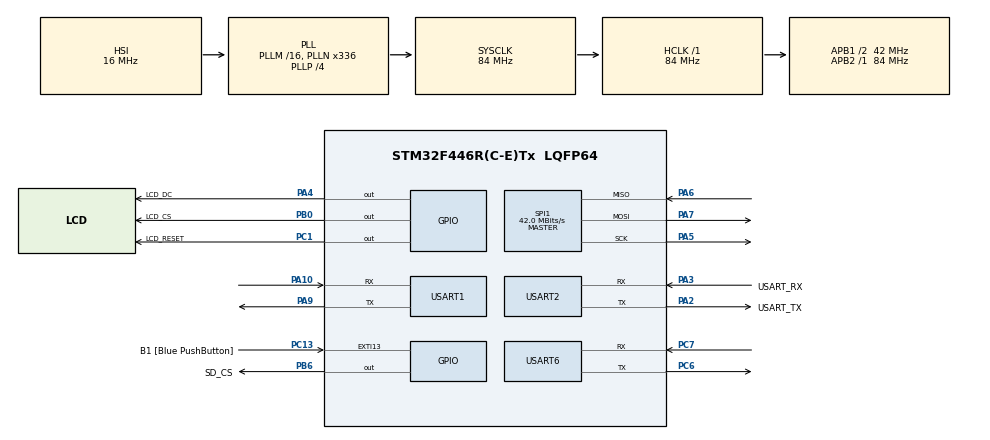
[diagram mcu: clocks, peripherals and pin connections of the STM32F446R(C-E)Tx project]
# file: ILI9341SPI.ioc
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Mcu.Family=STM32F4
Mcu.Name=STM32F446R(C-E)Tx
Mcu.Package=LQFP64
NVIC.PriorityGroup=NVIC_PRIORITYGROUP_0
NVIC.USART1_IRQn=true\:0\:0\:false\:false\:true\:true\:true\:true
NVIC.USART2_IRQn=true\:0\:0\:false\:false\:true\:true\:true\:true
NVIC.USART6_IRQn=true\:0\:0\:false\:false\:true\:true\:true\:true
PA10.Mode=Asynchronous
PA10.Signal=USART1_RX
PA13.GPIO_Label=TMS
PA13.Mode=Serial_Wire
PA13.Signal=SYS_JTMS-SWDIO
PA14.GPIO_Label=TCK
PA14.Mode=Serial_Wire
PA14.Signal=SYS_JTCK-SWCLK
PA2.GPIO_Label=USART_TX
PA2.Mode=Asynchronous
PA2.Signal=USART2_TX
PA3.GPIO_Label=USART_RX
PA3.Mode=Asynchronous
PA3.Signal=USART2_RX
PA4.GPIO_Label=LCD_DC
PA4.GPIO_Speed=GPIO_SPEED_FREQ_MEDIUM
PA4.Signal=GPIO_Output
PA5.Mode=Full_Duplex_Master
PA5.Signal=SPI1_SCK
PA6.Mode=Full_Duplex_Master
PA6.Signal=SPI1_MISO
PA7.Mode=Full_Duplex_Master
PA7.Signal=SPI1_MOSI
PA9.Mode=Asynchronous
PA9.Signal=USART1_TX
PB0.GPIO_Label=LCD_CS
PB0.GPIO_Speed=GPIO_SPEED_FREQ_MEDIUM
PB0.Signal=GPIO_Output
PB3.GPIO_Label=SWO
PB3.Signal=SYS_JTDO-SWO
PB6.GPIO_Label=SD_CS
PB6.GPIO_Speed=GPIO_SPEED_FREQ_MEDIUM
PB6.Signal=GPIO_Output
PC1.GPIO_Label=LCD_RESET
PC1.GPIO_Speed=GPIO_SPEED_FREQ_MEDIUM
PC1.Signal=GPIO_Output
PC13.GPIO_Label=B1 [Blue PushButton]
PC13.GPIO_ModeDefaultEXTI=GPIO_MODE_IT_FALLING
PC13.Signal=GPXTI13
PC14-OSC32_IN.Mode=LSE-External-Oscillator
PC14-OSC32_IN.Signal=RCC_OSC32_IN
PC15-OSC32_OUT.Mode=LSE-External-Oscillator
PC15-OSC32_OUT.Signal=RCC_OSC32_OUT
PC6.Mode=Asynchronous
PC6.Signal=USART6_TX
PC7.Mode=Asynchronous
PC7.Signal=USART6_RX
PH0-OSC_IN.Mode=HSE-External-Oscillator
PH0-OSC_IN.Signal=RCC_OSC_IN
PH1-OSC_OUT.Mode=HSE-External-Oscillator
PH1-OSC_OUT.Signal=RCC_OSC_OUT
ProjectManager.HeapSize=0x200
ProjectManager.StackSize=0x400
ProjectManager.TargetToolchain=STM32CubeIDE
RCC.48MHZClocksFreq_Value=84000000
RCC.AHBFreq_Value=84000000
RCC.APB1CLKDivider=RCC_HCLK_DIV2
RCC.APB1Freq_Value=42000000
RCC.APB1TimFreq_Value=84000000
RCC.APB2Freq_Value=84000000
RCC.APB2TimFreq_Value=84000000
RCC.CortexFreq_Value=84000000
RCC.FLatency-AdvancedSettings=FLASH_LATENCY_2
RCC.HCLKFreq_Value=84000000
RCC.HSE_VALUE=8000000
RCC.HSI_VALUE=16000000
RCC.PLLN=336
RCC.PLLP=RCC_PLLP_DIV4
RCC.SYSCLKFreq_VALUE=84000000
RCC.SYSCLKSource=RCC_SYSCLKSOURCE_PLLCLK
RCC.USBFreq_Value=168000000
RCC.VCOOutputFreq_Value=336000000
SPI1.BaudRatePrescaler=SPI_BAUDRATEPRESCALER_2
SPI1.CalculateBaudRate=42.0 MBits/s
SPI1.Direction=SPI_DIRECTION_2LINES
SPI1.Mode=SPI_MODE_MASTER
SPI1.VirtualType=VM_MASTER
USART1.VirtualMode=VM_ASYNC
USART2.VirtualMode=VM_ASYNC
USART6.VirtualMode=VM_ASYNC
board=NUCLEO-F446RE

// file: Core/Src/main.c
/* USER CODE BEGIN Header */
/**
 ******************************************************************************
 * @file           : main.c
 * @brief          : Main program body
 ******************************************************************************
 * @attention
 *
 * Copyright (c) 2024 STMicroelectronics.
 * All rights reserved.
 *
 * This software is licensed under terms that can be found in the LICENSE file
 * in the root directory of this software component.
 * If no LICENSE file comes with this software, it is provided AS-IS.
 *
 * Proyecto 02 - Angie Recinos | Edvin Paiz
 ******************************************************************************
 */
/* USER CODE END Header */
#include "main.h"

/* USER CODE BEGIN Includes */
#include "ili9341.h"
#include "bitmaps.h"
/* USER CODE END Includes */

SPI_HandleTypeDef hspi1;

UART_HandleTypeDef huart1;
UART_HandleTypeDef huart2;
UART_HandleTypeDef huart6;

/* USER CODE BEGIN PV */
extern const uint16_t fondo[];
/* USER CODE END PV */

void SystemClock_Config(void);
static void MX_GPIO_Init(void);
static void MX_USART2_UART_Init(void);
static void MX_SPI1_Init(void);
static void MX_USART1_UART_Init(void);
static void MX_USART6_UART_Init(void);

int main(void)
{

  /* MCU Configuration--------------------------------------------------------*/

  /* Reset of all peripherals, Initializes the Flash interface and the Systick. */
  HAL_Init();

  /* Configure the system clock */
  SystemClock_Config();

  /* Initialize all configured peripherals */
  MX_GPIO_Init();
  MX_USART2_UART_Init();
  MX_SPI1_Init();
  MX_USART1_UART_Init();
  MX_USART6_UART_Init();
  /* USER CODE BEGIN 2 */
	LCD_Init();

	LCD_Clear(0x00);
	FillRect(0, 0, 319, 239, 0xFFFF);
	FillRect(50, 60, 20, 20, 0xF800);
	FillRect(70, 60, 20, 20, 0x07E0);
	FillRect(90, 60, 20, 20, 0x001F);

	LCD_Bitmap(0, 0, 320, 240, fondo);
//	FillRect(0, 0, 319, 206, 0x421b);
//
	LCD_Print("Hola Mundo", 20, 100, 2, 0x001F, 0xCAB9);

	//LCD_Sprite(int x, int y, int width, int height, unsigned char bitmap[],int columns, int index, char flip, char offset);
	//LCD_Sprite(60,100,32,32,pesaSprite,4,3,0,1);

	//LCD_Bitmap(unsigned int x, unsigned int y, unsigned int width, unsigned int height, unsigned char bitmap[]);
	//LCD_Bitmap(0, 0, 320, 240, fondo);

	for (int x = 0; x < 319; x++) {
		LCD_Bitmap(x, 116, 15, 15, tile);
		LCD_Bitmap(x, 68, 15, 15, tile);
		LCD_Bitmap(x, 207, 15, 15, tile);
		LCD_Bitmap(x, 223, 15, 15, tile);
		x += 15;
	}
  /* USER CODE END 2 */

  /* Infinite loop */
  /* USER CODE BEGIN WHILE */
	while (1) {

		for (int x = 0; x < 319-24; x++) {
					int anim = (x/10)%4;
					// anim 0 1 2 3
					LCD_Sprite(x, 100, 24, 30, sonics, 4, anim, 0, 0);
					V_line( x -1, 100, 30, 0x0DFE);
					HAL_Delay(15);

				}
				for (int var = 319-24; var > 0;  var--) {
					int anim = (var / 10) % 4;
					LCD_Sprite(var, 100, 24, 30, sonics, 4, anim, 1, 0);
					V_line(var + 24, 100, 30, 0x0DFE);
					HAL_Delay(15);
				}
    /* USER CODE END WHILE */

	}
}

void SystemClock_Config(void)
{
  RCC_OscInitTypeDef RCC_OscInitStruct = {0};
  RCC_ClkInitTypeDef RCC_ClkInitStruct = {0};

  /** Configure the main internal regulator output voltage
  */
  __HAL_RCC_PWR_CLK_ENABLE();
  __HAL_PWR_VOLTAGESCALING_CONFIG(PWR_REGULATOR_VOLTAGE_SCALE3);

  /** Initializes the RCC Oscillators according to the specified parameters
  * in the RCC_OscInitTypeDef structure.
  */
  RCC_OscInitStruct.OscillatorType = RCC_OSCILLATORTYPE_HSI;
  RCC_OscInitStruct.HSIState = RCC_HSI_ON;
  RCC_OscInitStruct.HSICalibrationValue = RCC_HSICALIBRATION_DEFAULT;
  RCC_OscInitStruct.PLL.PLLState = RCC_PLL_ON;
  RCC_OscInitStruct.PLL.PLLSource = RCC_PLLSOURCE_HSI;
  RCC_OscInitStruct.PLL.PLLM = 16;
  RCC_OscInitStruct.PLL.PLLN = 336;
  RCC_OscInitStruct.PLL.PLLP = RCC_PLLP_DIV4;
  RCC_OscInitStruct.PLL.PLLQ = 2;
  RCC_OscInitStruct.PLL.PLLR = 2;
  if (HAL_RCC_OscConfig(&RCC_OscInitStruct) != HAL_OK)
  {
    Error_Handler();
  }

  /** Initializes the CPU, AHB and APB buses clocks
  */
  RCC_ClkInitStruct.ClockType = RCC_CLOCKTYPE_HCLK|RCC_CLOCKTYPE_SYSCLK
                              |RCC_CLOCKTYPE_PCLK1|RCC_CLOCKTYPE_PCLK2;
  RCC_ClkInitStruct.SYSCLKSource = RCC_SYSCLKSOURCE_PLLCLK;
  RCC_ClkInitStruct.AHBCLKDivider = RCC_SYSCLK_DIV1;
  RCC_ClkInitStruct.APB1CLKDivider = RCC_HCLK_DIV2;
  RCC_ClkInitStruct.APB2CLKDivider = RCC_HCLK_DIV1;

  if (HAL_RCC_ClockConfig(&RCC_ClkInitStruct, FLASH_LATENCY_2) != HAL_OK)
  {
    Error_Handler();
  }
}

static void MX_SPI1_Init(void)
{

  /* SPI1 parameter configuration*/
  hspi1.Instance = SPI1;
  hspi1.Init.Mode = SPI_MODE_MASTER;
  hspi1.Init.Direction = SPI_DIRECTION_2LINES;
  hspi1.Init.DataSize = SPI_DATASIZE_8BIT;
  hspi1.Init.CLKPolarity = SPI_POLARITY_LOW;
  hspi1.Init.CLKPhase = SPI_PHASE_1EDGE;
  hspi1.Init.NSS = SPI_NSS_SOFT;
  hspi1.Init.BaudRatePrescaler = SPI_BAUDRATEPRESCALER_2;
  hspi1.Init.FirstBit = SPI_FIRSTBIT_MSB;
  hspi1.Init.TIMode = SPI_TIMODE_DISABLE;
  hspi1.Init.CRCCalculation = SPI_CRCCALCULATION_DISABLE;
  hspi1.Init.CRCPolynomial = 10;
  if (HAL_SPI_Init(&hspi1) != HAL_OK)
  {
    Error_Handler();
  }

}

static void MX_USART1_UART_Init(void)
{

  huart1.Instance = USART1;
  huart1.Init.BaudRate = 115200;
  huart1.Init.WordLength = UART_WORDLENGTH_8B;
  huart1.Init.StopBits = UART_STOPBITS_1;
  huart1.Init.Parity = UART_PARITY_NONE;
  huart1.Init.Mode = UART_MODE_TX_RX;
  huart1.Init.HwFlowCtl = UART_HWCONTROL_NONE;
  huart1.Init.OverSampling = UART_OVERSAMPLING_16;
  if (HAL_UART_Init(&huart1) != HAL_OK)
  {
    Error_Handler();
  }

}

static void MX_USART2_UART_Init(void)
{

  huart2.Instance = USART2;
  huart2.Init.BaudRate = 115200;
  huart2.Init.WordLength = UART_WORDLENGTH_8B;
  huart2.Init.StopBits = UART_STOPBITS_1;
  huart2.Init.Parity = UART_PARITY_NONE;
  huart2.Init.Mode = UART_MODE_TX_RX;
  huart2.Init.HwFlowCtl = UART_HWCONTROL_NONE;
  huart2.Init.OverSampling = UART_OVERSAMPLING_16;
  if (HAL_UART_Init(&huart2) != HAL_OK)
  {
    Error_Handler();
  }

}

static void MX_USART6_UART_Init(void)
{

  huart6.Instance = USART6;
  huart6.Init.BaudRate = 115200;
  huart6.Init.WordLength = UART_WORDLENGTH_8B;
  huart6.Init.StopBits = UART_STOPBITS_1;
  huart6.Init.Parity = UART_PARITY_NONE;
  huart6.Init.Mode = UART_MODE_TX_RX;
  huart6.Init.HwFlowCtl = UART_HWCONTROL_NONE;
  huart6.Init.OverSampling = UART_OVERSAMPLING_16;
  if (HAL_UART_Init(&huart6) != HAL_OK)
  {
    Error_Handler();
  }

}

static void MX_GPIO_Init(void)
{
  GPIO_InitTypeDef GPIO_InitStruct = {0};

  /* GPIO Ports Clock Enable */
  __HAL_RCC_GPIOC_CLK_ENABLE();
  __HAL_RCC_GPIOH_CLK_ENABLE();
  __HAL_RCC_GPIOA_CLK_ENABLE();
  __HAL_RCC_GPIOB_CLK_ENABLE();

  /*Configure GPIO pin Output Level */
  HAL_GPIO_WritePin(LCD_RESET_GPIO_Port, LCD_RESET_Pin, GPIO_PIN_RESET);

  /*Configure GPIO pin Output Level */
  HAL_GPIO_WritePin(LCD_DC_GPIO_Port, LCD_DC_Pin, GPIO_PIN_RESET);

  /*Configure GPIO pin Output Level */
  HAL_GPIO_WritePin(GPIOB, LCD_CS_Pin|SD_CS_Pin, GPIO_PIN_RESET);

  /*Configure GPIO pin : B1_Pin */
  GPIO_InitStruct.Pin = B1_Pin;
  GPIO_InitStruct.Mode = GPIO_MODE_IT_FALLING;
  GPIO_InitStruct.Pull = GPIO_NOPULL;
  HAL_GPIO_Init(B1_GPIO_Port, &GPIO_InitStruct);

  /*Configure GPIO pin : LCD_RESET_Pin */
  GPIO_InitStruct.Pin = LCD_RESET_Pin;
  GPIO_InitStruct.Mode = GPIO_MODE_OUTPUT_PP;
  GPIO_InitStruct.Pull = GPIO_NOPULL;
  GPIO_InitStruct.Speed = GPIO_SPEED_FREQ_MEDIUM;
  HAL_GPIO_Init(LCD_RESET_GPIO_Port, &GPIO_InitStruct);

  /*Configure GPIO pin : LCD_DC_Pin */
  GPIO_InitStruct.Pin = LCD_DC_Pin;
  GPIO_InitStruct.Mode = GPIO_MODE_OUTPUT_PP;
  GPIO_InitStruct.Pull = GPIO_NOPULL;
  GPIO_InitStruct.Speed = GPIO_SPEED_FREQ_MEDIUM;
  HAL_GPIO_Init(LCD_DC_GPIO_Port, &GPIO_InitStruct);

  /*Configure GPIO pins : LCD_CS_Pin SD_CS_Pin */
  GPIO_InitStruct.Pin = LCD_CS_Pin|SD_CS_Pin;
  GPIO_InitStruct.Mode = GPIO_MODE_OUTPUT_PP;
  GPIO_InitStruct.Pull = GPIO_NOPULL;
  GPIO_InitStruct.Speed = GPIO_SPEED_FREQ_MEDIUM;
  HAL_GPIO_Init(GPIOB, &GPIO_InitStruct);

}

void Error_Handler(void)
{
	__disable_irq();
	while (1) {
	}
}
